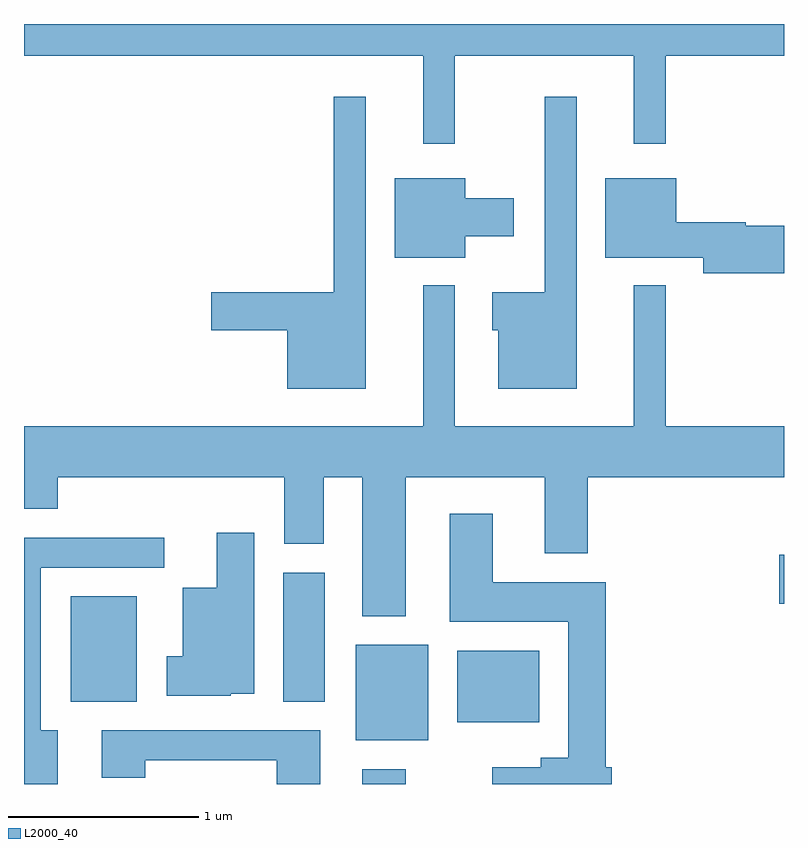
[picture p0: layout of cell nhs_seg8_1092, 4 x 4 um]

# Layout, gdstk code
import gdstk
lib = gdstk.Library(unit=1e-6, precision=1e-09)
def R(c, l, rs):  # rectangles x0, y0, x1, y1
    for r in rs: c.add(gdstk.rectangle(r[:2], r[2:], *l))
def P(c, l, *ps):  # polygons
    for p in ps: c.add(gdstk.Polygon(p, *l))
L2000_40 = (2000, 40)

nhs_seg8_1092 = lib.new_cell('nhs_seg8_1092')
R(nhs_seg8_1092, L2000_40, [(219.391,1850.342,219.619,1850.419), (219.356,1850.571,219.739,1851.074), (219.891,1850.666,220.324,1851.044), (217.856,1850.776,218.204,1851.329), (218.976,1850.776,219.194,1851.454), (221.586,1851.291,221.611,1851.549)])
P(nhs_seg8_1092, L2000_40, [(219.879,1854.176),(220.821,1854.176),(220.821,1853.713),(220.989,1853.713),(220.989,1854.176),(221.611,1854.176),(221.611,1854.342),(217.611,1854.342),(217.611,1854.176),(219.711,1854.176),(219.711,1853.713),(219.879,1853.713)],
  [(220.519,1853.958),(220.351,1853.958),(220.351,1852.929),(220.076,1852.929),(220.076,1852.731),(220.106,1852.731),(220.106,1852.421),(220.519,1852.421)],
  [(219.409,1853.958),(219.241,1853.958),(219.241,1852.929),(218.596,1852.929),(218.596,1852.731),(218.996,1852.731),(218.996,1852.421),(219.409,1852.421)],
  [(221.611,1853.279),(221.409,1853.279),(221.409,1853.299),(221.044,1853.299),(221.044,1853.529),(220.671,1853.529),(220.671,1853.111),(221.186,1853.111),(221.186,1853.031),(221.611,1853.031)],
  [(219.934,1853.226),(220.189,1853.226),(220.189,1853.424),(219.934,1853.424),(219.934,1853.529),(219.561,1853.529),(219.561,1853.111),(219.934,1853.111)],
  [(219.619,1851.956),(220.351,1851.956),(220.351,1851.556),(220.579,1851.556),(220.579,1851.956),(221.611,1851.956),(221.611,1852.224),(220.989,1852.224),(220.989,1852.968),(220.821,1852.968),(220.821,1852.224),(219.879,1852.224),(219.879,1852.968),(219.711,1852.968),(219.711,1852.224),(217.611,1852.224),(217.611,1851.791),(217.789,1851.791),(217.789,1851.956),(218.981,1851.956),(218.981,1851.606),(219.189,1851.606),(219.189,1851.956),(219.391,1851.956),(219.391,1851.226),(219.619,1851.226)],
  [(220.704,1850.429),(220.674,1850.429),(220.674,1851.404),(220.079,1851.404),(220.079,1851.764),(219.851,1851.764),(219.851,1851.196),(220.476,1851.196),(220.476,1850.479),(220.331,1850.479),(220.331,1850.429),(220.076,1850.429),(220.076,1850.342),(220.704,1850.342)],
  [(218.7,1850.816),(218.824,1850.816),(218.824,1851.664),(218.626,1851.664),(218.626,1851.374),(218.446,1851.374),(218.446,1851.014),(218.361,1851.014),(218.361,1850.806),(218.7,1850.806)],
  [(217.789,1850.624),(217.699,1850.624),(217.699,1851.481),(218.348,1851.481),(218.348,1851.639),(217.611,1851.639),(217.611,1850.342),(217.789,1850.342)],
  [(219.169,1850.624),(218.021,1850.624),(218.021,1850.376),(218.249,1850.376),(218.249,1850.466),(218.941,1850.466),(218.941,1850.342),(219.169,1850.342)])

lib.write_gds('nhs_seg8_1092.gds')
